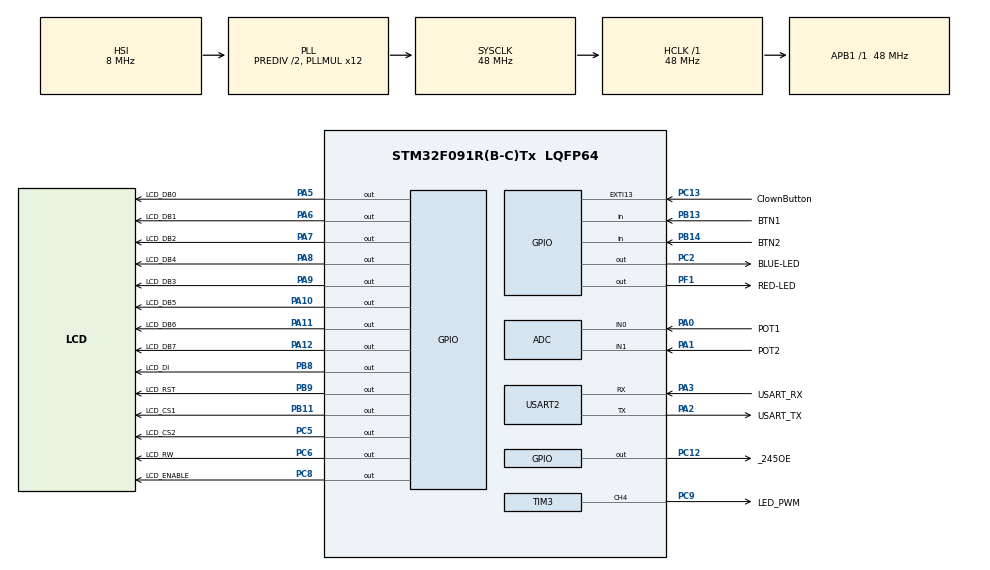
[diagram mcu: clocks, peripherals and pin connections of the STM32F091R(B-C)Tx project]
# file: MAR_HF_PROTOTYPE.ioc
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ADC.ClockPrescaler=ADC_CLOCK_ASYNC_DIV1
ADC.ContinuousConvMode=DISABLE
ADC.DiscontinuousConvMode=ENABLE
ADC.EOCSelection=ADC_EOC_SINGLE_CONV
ADC.EnableAnalogWatchDog=false
ADC.ExternalTrigConv=ADC_EXTERNALTRIGCONV_T1_TRGO
ADC.Overrun=ADC_OVR_DATA_PRESERVED
ADC.SamplingTime=ADC_SAMPLETIME_239CYCLES_5
ADC.ScanConvMode=ADC_SCAN_DIRECTION_FORWARD
Mcu.Family=STM32F0
Mcu.Name=STM32F091R(B-C)Tx
Mcu.Package=LQFP64
NVIC.ADC1_COMP_IRQn=true\:1\:0\:true\:false\:true\:true\:true\:true
NVIC.EXTI4_15_IRQn=true\:0\:0\:false\:false\:true\:true\:true\:true
NVIC.TIM1_BRK_UP_TRG_COM_IRQn=true\:1\:0\:true\:false\:true\:true\:true\:true
NVIC.USART2_IRQn=true\:0\:0\:false\:false\:true\:true\:true\:true
PA0.GPIO_Label=POT1
PA0.Mode=IN0
PA0.Signal=ADC_IN0
PA1.GPIO_Label=POT2
PA1.Mode=IN1
PA1.Signal=ADC_IN1
PA10.GPIO_Label=LCD_DB5
PA10.Signal=GPIO_Output
PA11.GPIO_Label=LCD_DB6
PA11.Signal=GPIO_Output
PA12.GPIO_Label=LCD_DB7
PA12.Signal=GPIO_Output
PA13.GPIO_Label=TMS
PA13.Mode=Serial_Wire
PA13.Signal=SYS_SWDIO
PA14.GPIO_Label=TCK
PA14.Mode=Serial_Wire
PA14.Signal=SYS_SWCLK
PA2.GPIO_Label=USART_TX
PA2.GPIO_Mode=GPIO_MODE_AF_PP
PA2.GPIO_PuPd=GPIO_NOPULL
PA2.GPIO_Speed=GPIO_SPEED_FREQ_LOW
PA2.Mode=Asynchronous
PA2.Signal=USART2_TX
PA3.GPIO_Label=USART_RX
PA3.GPIO_Mode=GPIO_MODE_AF_PP
PA3.GPIO_PuPd=GPIO_NOPULL
PA3.GPIO_Speed=GPIO_SPEED_FREQ_LOW
PA3.Mode=Asynchronous
PA3.Signal=USART2_RX
PA5.GPIO_Label=LCD_DB0
PA5.Signal=GPIO_Output
PA6.GPIO_Label=LCD_DB1
PA6.Signal=GPIO_Output
PA7.GPIO_Label=LCD_DB2
PA7.Signal=GPIO_Output
PA8.GPIO_Label=LCD_DB4
PA8.Signal=GPIO_Output
PA9.GPIO_Label=LCD_DB3
PA9.Signal=GPIO_Output
PB11.GPIO_Label=LCD_CS1
PB11.PinState=GPIO_PIN_SET
PB11.Signal=GPIO_Output
PB13.GPIO_Label=BTN1
PB13.GPIO_PuPd=GPIO_PULLUP
PB13.Signal=GPIO_Input
PB14.GPIO_Label=BTN2
PB14.GPIO_Mode=GPIO_MODE_INPUT
PB14.GPIO_PuPd=GPIO_PULLUP
PB14.Signal=GPIO_Input
PB8.GPIO_Label=LCD_DI
PB8.PinState=GPIO_PIN_RESET
PB8.Signal=GPIO_Output
PB9.GPIO_Label=LCD_RST
PB9.Signal=GPIO_Output
PC12.GPIO_Label=_245OE
PC12.Signal=GPIO_Output
PC13.GPIO_Label=ClownButton
PC13.GPIO_ModeDefaultEXTI=GPIO_MODE_IT_FALLING
PC13.Signal=GPXTI13
PC14OSC32_IN.Mode=LSE-External-Oscillator
PC14OSC32_IN.Signal=RCC_OSC32_IN
PC15OSC32_OUT.Mode=LSE-External-Oscillator
PC15OSC32_OUT.Signal=RCC_OSC32_OUT
PC2.GPIO_Label=BLUE-LED
PC2.PinState=GPIO_PIN_SET
PC2.Signal=GPIO_Output
PC5.GPIO_Label=LCD_CS2
PC5.PinState=GPIO_PIN_SET
PC5.Signal=GPIO_Output
PC6.GPIO_Label=LCD_RW
PC6.PinState=GPIO_PIN_RESET
PC6.Signal=GPIO_Output
PC8.GPIO_Label=LCD_ENABLE
PC8.Signal=GPIO_Output
PC9.GPIO_Label=LED_PWM
PC9.Signal=S_TIM3_CH4
PF1-OSC_OUT.GPIO_Label=RED-LED
PF1-OSC_OUT.PinState=GPIO_PIN_RESET
PF1-OSC_OUT.Signal=GPIO_Output
ProjectManager.HeapSize=0x200
ProjectManager.StackSize=0x400
ProjectManager.TargetToolchain=STM32CubeIDE
RCC.AHBFreq_Value=48000000
RCC.APB1Freq_Value=48000000
RCC.APB1TimFreq_Value=48000000
RCC.FLatency-AdvancedSettings=FLASH_LATENCY_1
RCC.HCLKFreq_Value=48000000
RCC.PLLDivider=RCC_PREDIV_DIV2
RCC.PLLMUL=RCC_PLL_MUL12
RCC.PREFETCH_ENABLE-AdvancedSettings=1
RCC.SYSCLKFreq_VALUE=48000000
RCC.SYSCLKSource=RCC_SYSCLKSOURCE_PLLCLK
SH.S_TIM3_CH4.0=TIM3_CH4,PWM Generation4 CH4
TIM1.AutoReloadPreload=TIM_AUTORELOAD_PRELOAD_DISABLE
TIM1.Period=4799
TIM1.Prescaler=0
TIM1.TIM_MasterOutputTrigger=TIM_TRGO_UPDATE
TIM3.AutoReloadPreload=TIM_AUTORELOAD_PRELOAD_ENABLE
TIM3.Channel-PWM\ Generation4\ CH4=TIM_CHANNEL_4
TIM3.Period=47999
TIM3.Pulse-PWM\ Generation4\ CH4=100
USART2.VirtualMode=VM_ASYNC
USART2.VirtualMode-Asynchronous=VM_ASYNC
VP_TIM1_VS_ClockSourceINT.Mode=Internal
board=NUCLEO-F091RC

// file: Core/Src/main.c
/* USER CODE BEGIN Header */
/**
  ******************************************************************************
  * @file           : main.c
  * @brief          : Main program body
  ******************************************************************************
  * @attention
  *
  * Copyright (c) 2025 STMicroelectronics.
  * All rights reserved.
  *
  * This software is licensed under terms that can be found in the LICENSE file
  * in the root directory of this software component.
  * If no LICENSE file comes with this software, it is provided AS-IS.
  *
  ******************************************************************************
  */
/* USER CODE END Header */
#include "main.h"

/* USER CODE BEGIN Includes */
#include <stdio.h>
#include <string.h>
#include <stdbool.h>
#include <stdint.h>
#include "hardware.h"
#include "images.h"
#include "comm.h"
#include "display_app.h"
#include "display_driver.h"

/* USER CODE END Includes */

ADC_HandleTypeDef hadc;

TIM_HandleTypeDef htim1;
TIM_HandleTypeDef htim3;

UART_HandleTypeDef huart2;

/* USER CODE BEGIN PV */
volatile uint32_t timer_100us = 0;
volatile bool adcChannelSelectFlag = true;
volatile filterArray rawArrayPOT1;
volatile filterArray rawArrayPOT2;

lcdStatus lcdState;
hwStatusTypedef hwStatus;

uint8_t pseudoRAM[1024];
uint8_t buffer = 0;
/* USER CODE END PV */

void SystemClock_Config(void);
static void MX_GPIO_Init(void);
static void MX_USART2_UART_Init(void);
static void MX_ADC_Init(void);
static void MX_TIM1_Init(void);
static void MX_TIM3_Init(void);

/* USER CODE BEGIN 0 */
void HAL_TIM_PeriodElapsedCallback(TIM_HandleTypeDef *htim){
	 if (htim->Instance == TIM1){
		 	 timer_100us++;
	 }
}

void HAL_GPIO_EXTI_Callback(uint16_t GPIO_Pin)
{
    if (GPIO_Pin == ClownButton_Pin) {
    	hwStatus.clown = true;
    }
}

void HAL_UART_RxCpltCallback(UART_HandleTypeDef *huart) {
    	 HAL_UART_Receive_IT(&huart2, &buffer, 1);
    }

void HAL_ADC_ConvCpltCallback(ADC_HandleTypeDef* hadc){
	uint16_t POT1_Value = 0; // Right potentiometer on board -> Y coordinate
	uint16_t POT2_Value = 0; // Left potentiometer on board -> X coordinate
	if(adcChannelSelectFlag){
		POT1_Value = HAL_ADC_GetValue(hadc);
		rawNewValue(&rawArrayPOT1 , rawArrayPOT1.length, POT1_Value);
	}
	else{
		POT2_Value = HAL_ADC_GetValue(hadc);
		rawNewValue(&rawArrayPOT2 , rawArrayPOT2.length, POT2_Value);
	}
	adcChannelSelectFlag = !adcChannelSelectFlag;
}

/* USER CODE END 0 */

int main(void)
{

  /* USER CODE BEGIN 1 */

	uint16_t filteredLeftPot = 0;
	uint16_t filteredRightPot = 0;

	rawArrayPOT1.length = SAMPLE_SIZE;
	rawArrayPOT1.index = 0;
	rawArrayPOT2.length = SAMPLE_SIZE;
	rawArrayPOT2.index = 0;

	hwStatus.cursorOff = false;
	hwStatus.erase = false;
	hwStatus.setPWM = false;
	hwStatus.clown = false;

  /* USER CODE END 1 */

  /* MCU Configuration--------------------------------------------------------*/

  /* Reset of all peripherals, Initializes the Flash interface and the Systick. */
  HAL_Init();

  /* Configure the system clock */
  SystemClock_Config();

  /* Initialize all configured peripherals */
  MX_GPIO_Init();
  MX_USART2_UART_Init();
  MX_ADC_Init();
  MX_TIM1_Init();
  MX_TIM3_Init();
  /* USER CODE BEGIN 2 */
  HAL_TIM_Base_Start_IT(&htim1);
  HAL_ADC_Start_IT(&hadc);
  HAL_TIM_PWM_Start(&htim3, TIM_CHANNEL_4);

  HAL_UART_Receive_IT(&huart2, &buffer, 1);

  displayInit();

  pictureToDisplay(opening);

  /* USER CODE END 2 */

  /* Infinite loop */
  while (1)
  {

    /* USER CODE BEGIN 3 */
		filteredLeftPot = filter(rawArrayPOT1.array, rawArrayPOT1.length);
		filteredRightPot = filter(rawArrayPOT2.array, rawArrayPOT2.length);

		if (hwStatus.setPWM)
			setDisplayPWMPulse(filteredRightPot);
		else if (hwStatus.clown) {
			playClown();
			hwStatus.clown = false;
		} else if (hwStatus.cursorOff){
			cursorOff(filteredLeftPot, filteredRightPot);
		} else {
			drawToDisplay(filteredLeftPot, filteredRightPot);
		}
		keyCommand(buffer);

		cursorToggle();
		eraseDisplaySignal();
	}
  /* USER CODE END 3 */
}

void SystemClock_Config(void)
{
  RCC_OscInitTypeDef RCC_OscInitStruct = {0};
  RCC_ClkInitTypeDef RCC_ClkInitStruct = {0};
  RCC_PeriphCLKInitTypeDef PeriphClkInit = {0};

  /** Initializes the RCC Oscillators according to the specified parameters
  * in the RCC_OscInitTypeDef structure.
  */
  RCC_OscInitStruct.OscillatorType = RCC_OSCILLATORTYPE_HSI|RCC_OSCILLATORTYPE_HSI14;
  RCC_OscInitStruct.HSIState = RCC_HSI_ON;
  RCC_OscInitStruct.HSI14State = RCC_HSI14_ON;
  RCC_OscInitStruct.HSICalibrationValue = RCC_HSICALIBRATION_DEFAULT;
  RCC_OscInitStruct.HSI14CalibrationValue = 16;
  RCC_OscInitStruct.PLL.PLLState = RCC_PLL_ON;
  RCC_OscInitStruct.PLL.PLLSource = RCC_PLLSOURCE_HSI;
  RCC_OscInitStruct.PLL.PLLMUL = RCC_PLL_MUL12;
  RCC_OscInitStruct.PLL.PREDIV = RCC_PREDIV_DIV2;
  if (HAL_RCC_OscConfig(&RCC_OscInitStruct) != HAL_OK)
  {
    Error_Handler();
  }

  /** Initializes the CPU, AHB and APB buses clocks
  */
  RCC_ClkInitStruct.ClockType = RCC_CLOCKTYPE_HCLK|RCC_CLOCKTYPE_SYSCLK
                              |RCC_CLOCKTYPE_PCLK1;
  RCC_ClkInitStruct.SYSCLKSource = RCC_SYSCLKSOURCE_PLLCLK;
  RCC_ClkInitStruct.AHBCLKDivider = RCC_SYSCLK_DIV1;
  RCC_ClkInitStruct.APB1CLKDivider = RCC_HCLK_DIV1;

  if (HAL_RCC_ClockConfig(&RCC_ClkInitStruct, FLASH_LATENCY_1) != HAL_OK)
  {
    Error_Handler();
  }
  PeriphClkInit.PeriphClockSelection = RCC_PERIPHCLK_USART2;
  PeriphClkInit.Usart2ClockSelection = RCC_USART2CLKSOURCE_PCLK1;
  if (HAL_RCCEx_PeriphCLKConfig(&PeriphClkInit) != HAL_OK)
  {
    Error_Handler();
  }
}

static void MX_ADC_Init(void)
{

  ADC_ChannelConfTypeDef sConfig = {0};

  /** Configure the global features of the ADC (Clock, Resolution, Data Alignment and number of conversion)
  */
  hadc.Instance = ADC1;
  hadc.Init.ClockPrescaler = ADC_CLOCK_ASYNC_DIV1;
  hadc.Init.Resolution = ADC_RESOLUTION_12B;
  hadc.Init.DataAlign = ADC_DATAALIGN_RIGHT;
  hadc.Init.ScanConvMode = ADC_SCAN_DIRECTION_FORWARD;
  hadc.Init.EOCSelection = ADC_EOC_SINGLE_CONV;
  hadc.Init.LowPowerAutoWait = DISABLE;
  hadc.Init.LowPowerAutoPowerOff = DISABLE;
  hadc.Init.ContinuousConvMode = DISABLE;
  hadc.Init.DiscontinuousConvMode = ENABLE;
  hadc.Init.ExternalTrigConv = ADC_EXTERNALTRIGCONV_T1_TRGO;
  hadc.Init.ExternalTrigConvEdge = ADC_EXTERNALTRIGCONVEDGE_RISING;
  hadc.Init.DMAContinuousRequests = DISABLE;
  hadc.Init.Overrun = ADC_OVR_DATA_PRESERVED;
  if (HAL_ADC_Init(&hadc) != HAL_OK)
  {
    Error_Handler();
  }

  /** Configure for the selected ADC regular channel to be converted.
  */
  sConfig.Channel = ADC_CHANNEL_0;
  sConfig.Rank = ADC_RANK_CHANNEL_NUMBER;
  sConfig.SamplingTime = ADC_SAMPLETIME_239CYCLES_5;
  if (HAL_ADC_ConfigChannel(&hadc, &sConfig) != HAL_OK)
  {
    Error_Handler();
  }

  /** Configure for the selected ADC regular channel to be converted.
  */
  sConfig.Channel = ADC_CHANNEL_1;
  if (HAL_ADC_ConfigChannel(&hadc, &sConfig) != HAL_OK)
  {
    Error_Handler();
  }

}

static void MX_TIM1_Init(void)
{

  TIM_ClockConfigTypeDef sClockSourceConfig = {0};
  TIM_MasterConfigTypeDef sMasterConfig = {0};

  htim1.Instance = TIM1;
  htim1.Init.Prescaler = 0;
  htim1.Init.CounterMode = TIM_COUNTERMODE_UP;
  htim1.Init.Period = 4799;
  htim1.Init.ClockDivision = TIM_CLOCKDIVISION_DIV1;
  htim1.Init.RepetitionCounter = 0;
  htim1.Init.AutoReloadPreload = TIM_AUTORELOAD_PRELOAD_DISABLE;
  if (HAL_TIM_Base_Init(&htim1) != HAL_OK)
  {
    Error_Handler();
  }
  sClockSourceConfig.ClockSource = TIM_CLOCKSOURCE_INTERNAL;
  if (HAL_TIM_ConfigClockSource(&htim1, &sClockSourceConfig) != HAL_OK)
  {
    Error_Handler();
  }
  sMasterConfig.MasterOutputTrigger = TIM_TRGO_UPDATE;
  sMasterConfig.MasterSlaveMode = TIM_MASTERSLAVEMODE_DISABLE;
  if (HAL_TIMEx_MasterConfigSynchronization(&htim1, &sMasterConfig) != HAL_OK)
  {
    Error_Handler();
  }

}

static void MX_TIM3_Init(void)
{

  TIM_MasterConfigTypeDef sMasterConfig = {0};
  TIM_OC_InitTypeDef sConfigOC = {0};

  htim3.Instance = TIM3;
  htim3.Init.Prescaler = 0;
  htim3.Init.CounterMode = TIM_COUNTERMODE_UP;
  htim3.Init.Period = 47999;
  htim3.Init.ClockDivision = TIM_CLOCKDIVISION_DIV1;
  htim3.Init.AutoReloadPreload = TIM_AUTORELOAD_PRELOAD_ENABLE;
  if (HAL_TIM_PWM_Init(&htim3) != HAL_OK)
  {
    Error_Handler();
  }
  sMasterConfig.MasterOutputTrigger = TIM_TRGO_RESET;
  sMasterConfig.MasterSlaveMode = TIM_MASTERSLAVEMODE_DISABLE;
  if (HAL_TIMEx_MasterConfigSynchronization(&htim3, &sMasterConfig) != HAL_OK)
  {
    Error_Handler();
  }
  sConfigOC.OCMode = TIM_OCMODE_PWM1;
  sConfigOC.Pulse = 100;
  sConfigOC.OCPolarity = TIM_OCPOLARITY_HIGH;
  sConfigOC.OCFastMode = TIM_OCFAST_DISABLE;
  if (HAL_TIM_PWM_ConfigChannel(&htim3, &sConfigOC, TIM_CHANNEL_4) != HAL_OK)
  {
    Error_Handler();
  }
  HAL_TIM_MspPostInit(&htim3);

}

static void MX_USART2_UART_Init(void)
{

  huart2.Instance = USART2;
  huart2.Init.BaudRate = 115200;
  huart2.Init.WordLength = UART_WORDLENGTH_8B;
  huart2.Init.StopBits = UART_STOPBITS_1;
  huart2.Init.Parity = UART_PARITY_NONE;
  huart2.Init.Mode = UART_MODE_TX_RX;
  huart2.Init.HwFlowCtl = UART_HWCONTROL_NONE;
  huart2.Init.OverSampling = UART_OVERSAMPLING_16;
  huart2.Init.OneBitSampling = UART_ONE_BIT_SAMPLE_DISABLE;
  huart2.AdvancedInit.AdvFeatureInit = UART_ADVFEATURE_NO_INIT;
  if (HAL_UART_Init(&huart2) != HAL_OK)
  {
    Error_Handler();
  }

}

static void MX_GPIO_Init(void)
{
  GPIO_InitTypeDef GPIO_InitStruct = {0};

  /* GPIO Ports Clock Enable */
  __HAL_RCC_GPIOC_CLK_ENABLE();
  __HAL_RCC_GPIOF_CLK_ENABLE();
  __HAL_RCC_GPIOA_CLK_ENABLE();
  __HAL_RCC_GPIOB_CLK_ENABLE();

  /*Configure GPIO pin Output Level */
  HAL_GPIO_WritePin(RED_LED_GPIO_Port, RED_LED_Pin, GPIO_PIN_RESET);

  /*Configure GPIO pin Output Level */
  HAL_GPIO_WritePin(GPIOC, BLUE_LED_Pin|LCD_CS2_Pin, GPIO_PIN_SET);

  /*Configure GPIO pin Output Level */
  HAL_GPIO_WritePin(GPIOA, LCD_DB0_Pin|LCD_DB1_Pin|LCD_DB2_Pin|LCD_DB4_Pin
                          |LCD_DB3_Pin|LCD_DB5_Pin|LCD_DB6_Pin|LCD_DB7_Pin, GPIO_PIN_RESET);

  /*Configure GPIO pin Output Level */
  HAL_GPIO_WritePin(LCD_CS1_GPIO_Port, LCD_CS1_Pin, GPIO_PIN_SET);

  /*Configure GPIO pin Output Level */
  HAL_GPIO_WritePin(GPIOC, LCD_RW_Pin|LCD_ENABLE_Pin|_245OE_Pin, GPIO_PIN_RESET);

  /*Configure GPIO pin Output Level */
  HAL_GPIO_WritePin(GPIOB, LCD_DI_Pin|LCD_RST_Pin, GPIO_PIN_RESET);

  /*Configure GPIO pin : ClownButton_Pin */
  GPIO_InitStruct.Pin = ClownButton_Pin;
  GPIO_InitStruct.Mode = GPIO_MODE_IT_FALLING;
  GPIO_InitStruct.Pull = GPIO_NOPULL;
  HAL_GPIO_Init(ClownButton_GPIO_Port, &GPIO_InitStruct);

  /*Configure GPIO pin : RED_LED_Pin */
  GPIO_InitStruct.Pin = RED_LED_Pin;
  GPIO_InitStruct.Mode = GPIO_MODE_OUTPUT_PP;
  GPIO_InitStruct.Pull = GPIO_NOPULL;
  GPIO_InitStruct.Speed = GPIO_SPEED_FREQ_LOW;
  HAL_GPIO_Init(RED_LED_GPIO_Port, &GPIO_InitStruct);

  /*Configure GPIO pins : BLUE_LED_Pin LCD_CS2_Pin LCD_RW_Pin LCD_ENABLE_Pin
                           _245OE_Pin */
  GPIO_InitStruct.Pin = BLUE_LED_Pin|LCD_CS2_Pin|LCD_RW_Pin|LCD_ENABLE_Pin
                          |_245OE_Pin;
  GPIO_InitStruct.Mode = GPIO_MODE_OUTPUT_PP;
  GPIO_InitStruct.Pull = GPIO_NOPULL;
  GPIO_InitStruct.Speed = GPIO_SPEED_FREQ_LOW;
  HAL_GPIO_Init(GPIOC, &GPIO_InitStruct);

  /*Configure GPIO pins : LCD_DB0_Pin LCD_DB1_Pin LCD_DB2_Pin LCD_DB4_Pin
                           LCD_DB3_Pin LCD_DB5_Pin LCD_DB6_Pin LCD_DB7_Pin */
  GPIO_InitStruct.Pin = LCD_DB0_Pin|LCD_DB1_Pin|LCD_DB2_Pin|LCD_DB4_Pin
                          |LCD_DB3_Pin|LCD_DB5_Pin|LCD_DB6_Pin|LCD_DB7_Pin;
  GPIO_InitStruct.Mode = GPIO_MODE_OUTPUT_PP;
  GPIO_InitStruct.Pull = GPIO_NOPULL;
  GPIO_InitStruct.Speed = GPIO_SPEED_FREQ_LOW;
  HAL_GPIO_Init(GPIOA, &GPIO_InitStruct);

  /*Configure GPIO pins : LCD_CS1_Pin LCD_DI_Pin LCD_RST_Pin */
  GPIO_InitStruct.Pin = LCD_CS1_Pin|LCD_DI_Pin|LCD_RST_Pin;
  GPIO_InitStruct.Mode = GPIO_MODE_OUTPUT_PP;
  GPIO_InitStruct.Pull = GPIO_NOPULL;
  GPIO_InitStruct.Speed = GPIO_SPEED_FREQ_LOW;
  HAL_GPIO_Init(GPIOB, &GPIO_InitStruct);

  /*Configure GPIO pins : BTN1_Pin BTN2_Pin */
  GPIO_InitStruct.Pin = BTN1_Pin|BTN2_Pin;
  GPIO_InitStruct.Mode = GPIO_MODE_INPUT;
  GPIO_InitStruct.Pull = GPIO_PULLUP;
  HAL_GPIO_Init(GPIOB, &GPIO_InitStruct);

  /* EXTI interrupt init*/
  HAL_NVIC_SetPriority(EXTI4_15_IRQn, 0, 0);
  HAL_NVIC_EnableIRQ(EXTI4_15_IRQn);

}

void Error_Handler(void)
{
  __disable_irq();
  while (1)
  {
  }
}
